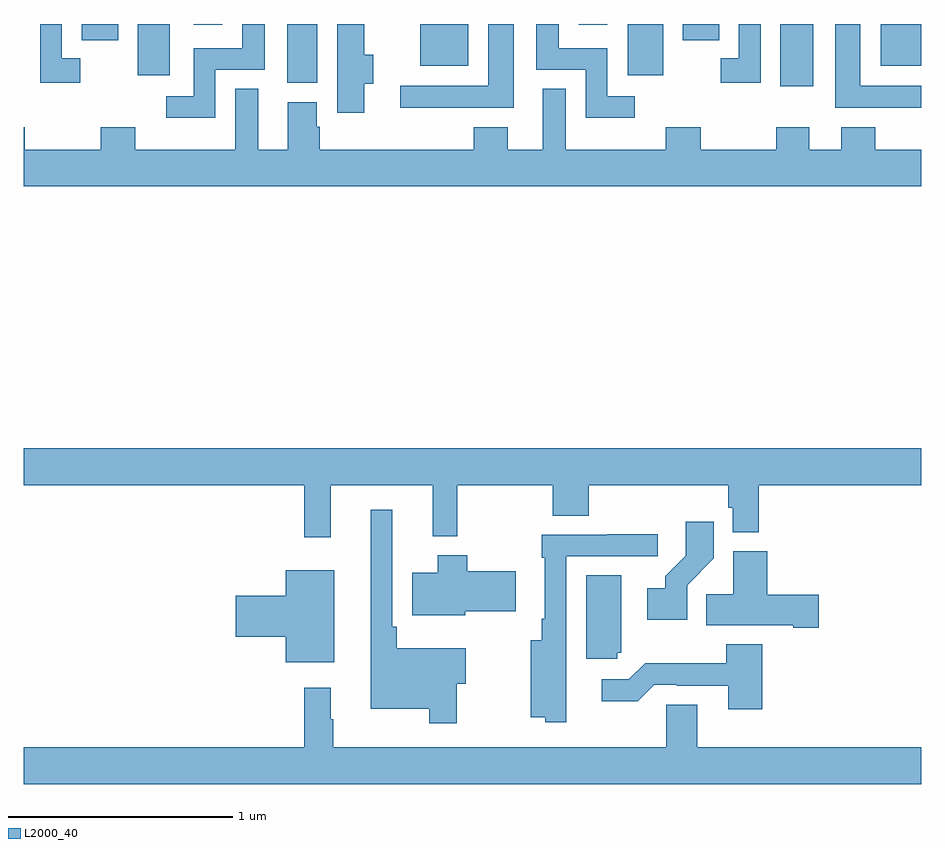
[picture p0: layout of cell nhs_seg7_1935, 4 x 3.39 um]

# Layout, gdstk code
import gdstk
lib = gdstk.Library(unit=1e-6, precision=1e-09)
def R(c, l, rs):  # rectangles x0, y0, x1, y1
    for r in rs: c.add(gdstk.rectangle(r[:2], r[2:], *l))
def P(c, l, *ps):  # polygons
    for p in ps: c.add(gdstk.Polygon(p, *l))
L2000_40 = (2000, 40)

nhs_seg7_1935 = lib.new_cell('nhs_seg7_1935')
R(nhs_seg7_1935, L2000_40, [(244.373,1007.723,244.519,1008), (242.174,1007.737,242.308,1008), (241.508,1007.772,241.651,1008), (243.692,1007.772,243.85,1008), (242.768,1007.813,242.98,1008), (244.82,1007.813,245,1008), (241.259,1007.928,241.42,1008), (243.938,1007.928,244.099,1008), (241.758,1007.997,241.885,1008), (243.473,1007.997,243.6,1008)])
P(nhs_seg7_1935, L2000_40, [(243.724,1007.679),(243.6,1007.679),(243.6,1007.892),(243.385,1007.892),(243.385,1008),(243.284,1008),(243.284,1007.796),(243.504,1007.796),(243.504,1007.582),(243.724,1007.582)],
  [(241.252,1007.847),(241.17,1007.847),(241.17,1008),(241.074,1008),(241.074,1007.739),(241.252,1007.739)],
  [(244.284,1008),(244.188,1008),(244.188,1007.847),(244.107,1007.847),(244.107,1007.739),(244.284,1007.739)],
  [(245,1007.724),(244.729,1007.724),(244.729,1008),(244.616,1008),(244.616,1007.627),(245,1007.627)],
  [(243.184,1008),(243.071,1008),(243.071,1007.724),(242.679,1007.724),(242.679,1007.627),(243.184,1007.627)],
  [(241.854,1007.796),(242.074,1007.796),(242.074,1008),(241.973,1008),(241.973,1007.892),(241.758,1007.892),(241.758,1007.679),(241.635,1007.679),(241.635,1007.582),(241.854,1007.582)],
  [(242.518,1007.734),(242.557,1007.734),(242.557,1007.863),(242.518,1007.863),(242.518,1008),(242.396,1008),(242.396,1007.604),(242.518,1007.604)],
  [(245,1007.44),(244.796,1007.44),(244.796,1007.539),(244.643,1007.539),(244.643,1007.44),(244.501,1007.44),(244.501,1007.539),(244.354,1007.539),(244.354,1007.44),(244.017,1007.44),(244.017,1007.539),(243.862,1007.539),(243.862,1007.44),(243.415,1007.44),(243.415,1007.711),(243.314,1007.711),(243.314,1007.44),(243.157,1007.44),(243.157,1007.539),(243.005,1007.539),(243.005,1007.44),(242.318,1007.44),(242.318,1007.541),(242.305,1007.541),(242.305,1007.652),(242.177,1007.652),(242.177,1007.44),(242.044,1007.44),(242.044,1007.711),(241.943,1007.711),(241.943,1007.44),(241.497,1007.44),(241.497,1007.539),(241.342,1007.539),(241.342,1007.44),(241.005,1007.44),(241.005,1007.539),(241,1007.539),(241,1007.276),(245,1007.276)],
  [(242.369,1005.944),(242.822,1005.944),(242.822,1005.716),(242.932,1005.716),(242.932,1005.944),(243.358,1005.944),(243.358,1005.808),(243.518,1005.808),(243.518,1005.944),(244.141,1005.944),(244.141,1005.843),(244.161,1005.843),(244.161,1005.734),(244.277,1005.734),(244.277,1005.944),(245,1005.944),(245,1006.108),(241,1006.108),(241,1005.944),(242.251,1005.944),(242.251,1005.711),(242.369,1005.711)],
  [(242.929,1005.059),(242.971,1005.059),(242.971,1005.217),(242.663,1005.217),(242.663,1005.313),(242.643,1005.313),(242.643,1005.835),(242.546,1005.835),(242.546,1004.948),(242.808,1004.948),(242.808,1004.883),(242.929,1004.883)],
  [(243.957,1005.499),(244.076,1005.618),(244.076,1005.781),(243.951,1005.781),(243.951,1005.629),(243.86,1005.539),(243.86,1005.484),(243.78,1005.484),(243.78,1005.344),(243.957,1005.344)],
  [(243.418,1005.149),(243.417,1005.149),(243.417,1005.627),(243.826,1005.627),(243.826,1005.726),(243.601,1005.726),(243.601,1005.723),(243.309,1005.723),(243.309,1005.62),(243.321,1005.62),(243.321,1005.349),(243.309,1005.349),(243.309,1005.253),(243.26,1005.253),(243.26,1004.909),(243.324,1004.909),(243.324,1004.888),(243.418,1004.888)],
  [(244.543,1005.455),(244.313,1005.455),(244.313,1005.649),(244.163,1005.649),(244.163,1005.458),(244.042,1005.458),(244.042,1005.32),(244.43,1005.32),(244.43,1005.308),(244.543,1005.308)],
  [(242.968,1005.383),(243.193,1005.383),(243.193,1005.561),(242.976,1005.561),(242.976,1005.631),(242.846,1005.631),(242.846,1005.553),(242.732,1005.553),(242.732,1005.365),(242.968,1005.365)],
  [(242.383,1005.565),(242.168,1005.565),(242.168,1005.452),(241.944,1005.452),(241.944,1005.269),(242.168,1005.269),(242.168,1005.155),(242.383,1005.155)],
  [(243.645,1005.198),(243.664,1005.198),(243.664,1005.542),(243.506,1005.542),(243.506,1005.171),(243.645,1005.171)],
  [(244.292,1005.235),(244.132,1005.235),(244.132,1005.151),(243.769,1005.151),(243.696,1005.078),(243.576,1005.078),(243.576,1004.981),(243.737,1004.981),(243.81,1005.054),(243.91,1005.054),(243.91,1005.051),(244.139,1005.051),(244.139,1004.946),(244.292,1004.946)],
  [(245,1004.776),(244.003,1004.776),(244.003,1004.966),(243.864,1004.966),(243.864,1004.776),(242.38,1004.776),(242.38,1004.9),(242.368,1004.9),(242.368,1005.04),(242.251,1005.04),(242.251,1004.776),(241,1004.776),(241,1004.612),(245,1004.612)])

lib.write_gds('nhs_seg7_1935.gds')
